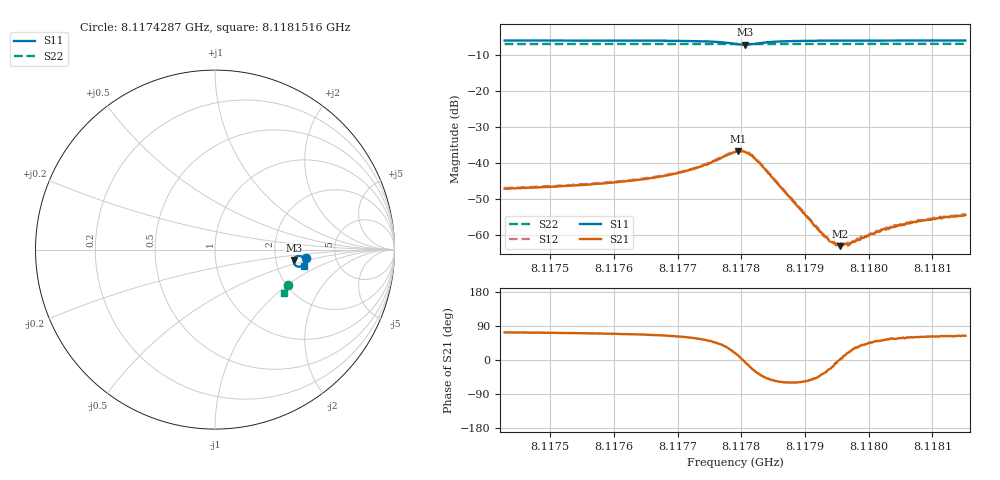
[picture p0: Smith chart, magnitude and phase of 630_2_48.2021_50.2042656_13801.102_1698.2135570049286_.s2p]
#  HZ  S  RI  R  50.00
! Rohde & Schwarz Vector Network Analyzer
! Rohde-Schwarz,ZNB20-2Port,1311601062101988,3.16
! Created: UTC 3/20/2024, 12:04:16 PM
! freq[Hz]  re:S11  im:S11  re:S21  im:S21  re:S12  im:S12  re:S22  im:S22
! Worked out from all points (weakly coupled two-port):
!   401 points, 8.1174287 GHz to 8.1181516 GHz, reference 50 ohm
!   highest |S21| = -36.68 dB at 8.1177956 GHz (marker M1); lowest = -63.1 dB at 8.1179546 GHz (marker M2)
!   lowest |S11| = -7.1 dB at 8.1178064 GHz (marker M3), VSWR 2.59, Z = 126 - j18.5 ohm
!   |S11| at or under -10 dB: nowhere
!   |S22| runs from -6.9 to -6.8 dB; largest |S21 - S12| = 0.00049
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8.1174287e9  0.5045 -0.0486  0.0013 0.00422  0.00137 0.00428  0.4076 -0.1966
8.11754979e9  0.5026 -0.06  0.00163 0.00463  0.0017 0.00474  0.4039 -0.2046
8.11762751e9  0.5002 -0.0689  0.00213 0.00526  0.00219 0.0054  0.4016 -0.2096
8.11767088e9  0.4977 -0.0753  0.00269 0.00585  0.00278 0.00597  0.4003 -0.2123
8.11772872e9  0.4893 -0.0868  0.00459 0.0071  0.00468 0.00723  0.3979 -0.2162
8.11779017e9  0.4459 -0.0858  0.0134 0.00446  0.0137 0.00459  0.3942 -0.2193
8.11779559e9  0.4408 -0.0783  0.0144 0.00292  0.0147 0.00279  0.3941 -0.2192
8.11780644e9  0.4382 -0.0589  0.0141 -0.00157  0.0144 -0.00165  0.3937 -0.2189
8.11781547e9  0.446 -0.0442  0.0119 -0.00456  0.0124 -0.00477  0.3941 -0.219
8.11782812e9  0.4629 -0.0351  0.0081 -0.00616  0.0082 -0.00633  0.3945 -0.2196
8.11785885e9  0.4887 -0.0427  0.0027 -0.00414  0.00277 -0.00424  0.3946 -0.222
8.11791126e9  0.4986 -0.0591  0.000928 -0.00116  0.000952 -0.00115  0.3932 -0.226
8.11793476e9  0.4996 -0.064  0.000806 -0.000431  0.000791 -0.000456  0.3926 -0.2276
8.1179456e9  0.4999 -0.066  0.000743 -0.000182  0.000775 -0.000206  0.3922 -0.2283
8.11795464e9  0.5 -0.0676  0.000696 5.93e-06  0.000715 7.85e-06  0.3919 -0.2289
8.11796729e9  0.5001 -0.0695  0.000677 0.000227  0.000748 0.000229  0.3915 -0.2298
8.11798537e9  0.5001 -0.0721  0.000681 0.000506  0.000711 0.000525  0.3908 -0.231
8.11802332e9  0.5001 -0.0769  0.000734 0.000954  0.000744 0.000979  0.3895 -0.2334
8.11803236e9  0.5 -0.0779  0.000698 0.00102  0.000755 0.000966  0.3892 -0.2338
8.1180667e9  0.4996 -0.0816  0.000727 0.00128  0.000788 0.00131  0.3882 -0.236
8.11810285e9  0.4991 -0.0852  0.000767 0.00146  0.000795 0.00153  0.3869 -0.2383
8.11815164e9  0.4984 -0.0899  0.000834 0.00171  0.000847 0.00168  0.3851 -0.2413
